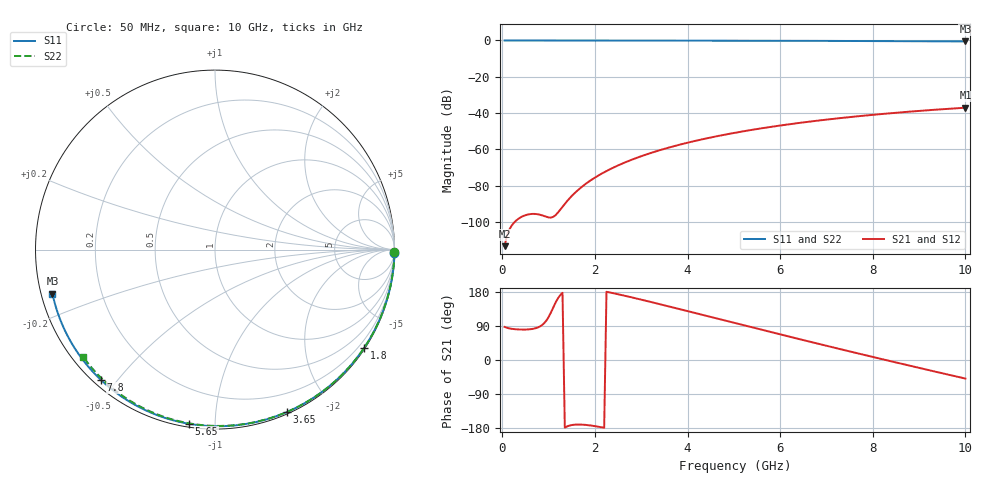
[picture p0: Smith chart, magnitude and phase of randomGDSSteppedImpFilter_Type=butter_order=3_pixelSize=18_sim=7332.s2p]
! freq	dB(S11)	phase(S11)	dB(S12)	phase(S12)
!  dB(S21)	phase(S21)	dB(S22)	phase(S22)
!S-par simulation data
#  GHz  S  DB  R 50
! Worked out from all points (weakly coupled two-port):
!   200 points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, 50 MHz to 10 GHz, reference 50 ohm
!   highest |S21| = -37.08 dB at 10 GHz (marker M1); lowest = -113.4 dB at 50 MHz (marker M2)
!   lowest |S11| = -0.6 dB at 10 GHz (marker M3), VSWR 31.45, Z = 1.62 - j6.66 ohm
!   |S11| at or under -10 dB: nowhere
!   |S22| runs from -0.5 to 0.0 dB; largest |S21 - S12| = 0
!   S11 on the Smith chart (normalised r, x): 50 MHz: open; 1.8 GHz: 0.03, -3.32; 3.65 GHz: 0.02, -1.54; 5.65 GHz: 0.02, -0.86; 7.8 GHz: 0.02, -0.45; 10 GHz: 0.03, -0.13
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0.05  -0.00 -0.9  -113.42 87.3  -113.42 87.3  -0.00 -0.8
0.45  -0.01 -8.5  -96.83 80.3  -96.83 80.3  -0.01 -7.4
0.85  -0.02 -16.0  -96.35 91.5  -96.35 91.5  -0.02 -13.8
1.3  -0.03 -24.4  -91.68 177.3  -91.68 177.3  -0.03 -21.0
1.75  -0.04 -32.6  -80.05 -170.7  -80.05 -170.7  -0.04 -28.2
1.8  -0.04 -33.5  -79.08 -171.3  -79.08 -171.3  -0.04 -29.0
2.1  -0.05 -38.9  -74.09 -176.5  -74.09 -176.5  -0.04 -33.7
2.3  -0.05 -42.5  -71.33 178.7  -71.33 178.7  -0.05 -36.8
2.5  -0.06 -46.1  -68.90 173.5  -68.90 173.5  -0.05 -39.9
2.9  -0.07 -53.1  -64.74 162.3  -64.74 162.3  -0.06 -46.0
3.4  -0.08 -61.8  -60.51 147.4  -60.51 147.4  -0.07 -53.6
3.65  -0.09 -66.1  -58.68 139.8  -58.68 139.8  -0.08 -57.3
4.3  -0.11 -76.9  -54.60 119.8  -54.60 119.8  -0.09 -66.7
5.05  -0.14 -89.1  -50.78 96.7  -50.78 96.7  -0.12 -77.4
5.65  -0.16 -98.6  -48.23 78.3  -48.23 78.3  -0.14 -85.6
6.15  -0.19 -106.3  -46.37 63.1  -46.37 63.1  -0.16 -92.3
6.7  -0.22 -114.7  -44.55 46.5  -44.55 46.5  -0.19 -99.6
7.25  -0.26 -123.0  -42.93 30.1  -42.93 30.1  -0.23 -106.7
7.8  -0.31 -131.2  -41.49 13.9  -41.49 13.9  -0.26 -113.6
8.35  -0.36 -139.5  -40.20 -2.1  -40.20 -2.1  -0.31 -120.5
9.2  -0.45 -152.4  -38.46 -26.5  -38.46 -26.5  -0.39 -131.0
10  -0.55 -164.8  -37.08 -49.0  -37.08 -49.0  -0.48 -140.8
